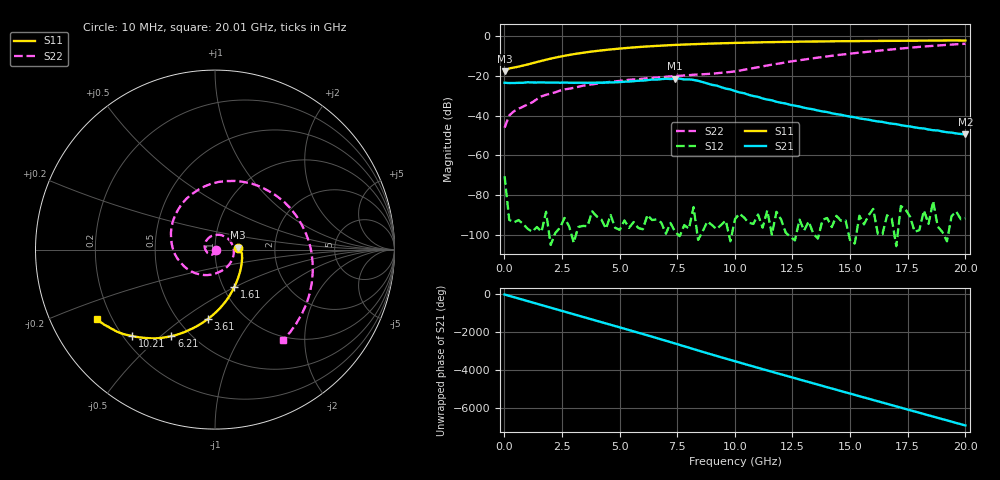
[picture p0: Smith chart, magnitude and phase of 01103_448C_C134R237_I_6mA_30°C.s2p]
!;Filter: kein Filter
!auto
!3/21/2019 9:27:54 AM
!3/21/2019 9:28:10 AM
!SP-Measurements Prober G4
!SP-Measurements Prober G4
!01103_448C
!134
!237
!12
!30
!-20
!0.00599970
!2.02
!0.74959551
!0.74959551
# Hz S  RI  R 50
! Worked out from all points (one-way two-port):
!   101 points, 10 MHz to 20.01 GHz, reference 50 ohm
!   highest |S21| = -21.49 dB at 7.41 GHz (marker M1); lowest = -49.5 dB at 20.01 GHz (marker M2)
!   lowest |S11| = -17.9 dB at 10 MHz (marker M3), VSWR 1.29, Z = 64.5 + j1.37 ohm
!   |S11| at or under -10 dB: start of sweep to 2.624 GHz
!   |S22| runs from -46.1 to -4.0 dB; largest |S21 - S12| = 0.084
!   S11 on the Smith chart (normalised r, x): 10 MHz: 1.29, +0.03; 1.61 GHz: 1.13, -0.50; 3.61 GHz: 0.69, -0.63; 6.21 GHz: 0.40, -0.54; 10.21 GHz: 0.23, -0.41; 20.01 GHz: 0.15, -0.27
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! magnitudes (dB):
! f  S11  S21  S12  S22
! 10 MHz  -17.9  -23.6  -70.4  -46.1
! 210 MHz  -16.4  -23.7  -92.4  -40.0
! 410 MHz  -16.0  -23.7  -93.7  -37.9
! 1.21 GHz  -13.8  -23.4  -98.3  -33.4
! 1.61 GHz  -12.6  -23.3  -98.4  -30.4
! 2.61 GHz  -10.0  -23.5  -91.4  -26.9
! 3.41 GHz  -8.5  -23.6  -95.4  -25.1
! 3.61 GHz  -8.2  -23.6  -95.5  -24.6
! 4.81 GHz  -6.6  -23.3  -96.4  -22.9
! 6.21 GHz  -5.4  -22.3  -89.9  -21.3
! 6.81 GHz  -4.9  -21.7  -93.7  -20.8
! 7.41 GHz  -4.6  -21.5  -98.4  -20.2
! 8.01 GHz  -4.3  -21.8  -96.8  -19.8
! 8.41 GHz  -4.1  -22.6  -102.4  -19.4
! 10.01 GHz  -3.6  -27.8  -92.0  -17.9
! 10.21 GHz  -3.5  -28.4  -89.2  -17.5
! 11.81 GHz  -3.1  -33.1  -88.3  -14.1
! 13.41 GHz  -2.9  -36.9  -99.3  -11.3
! 15.41 GHz  -2.6  -41.4  -90.3  -8.4
! 16.81 GHz  -2.5  -44.1  -91.5  -6.8
! 19.21 GHz  -2.4  -48.4  -103.1  -4.5
! 20.01 GHz  -2.4  -49.5  -91.6  -4.0
